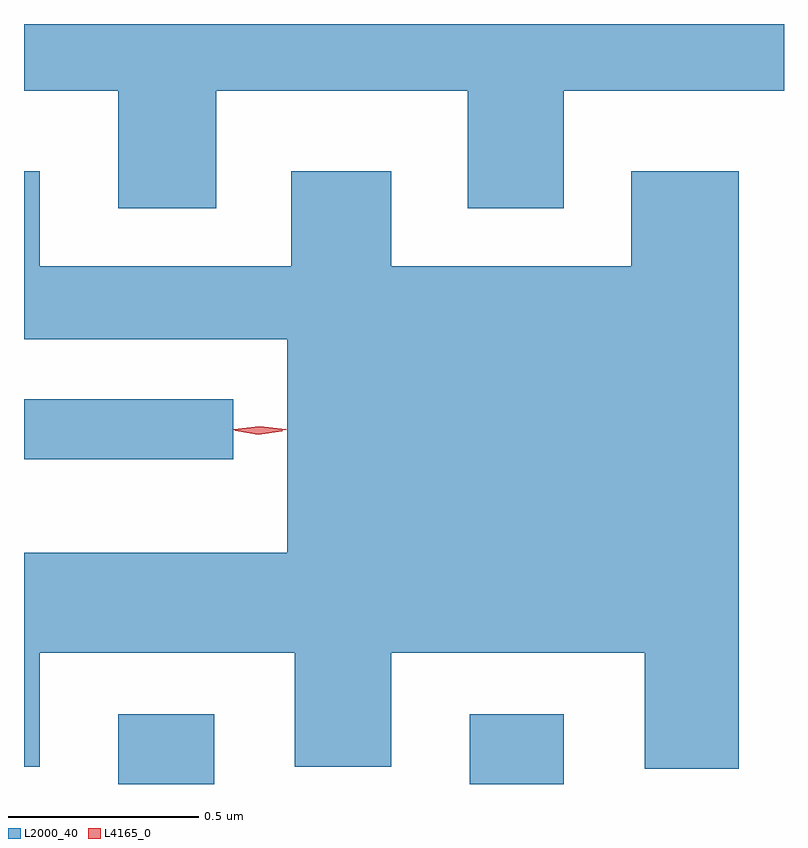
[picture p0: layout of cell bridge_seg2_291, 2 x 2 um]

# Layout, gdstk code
import gdstk
lib = gdstk.Library(unit=1e-6, precision=1e-09)
def R(c, l, rs):  # rectangles x0, y0, x1, y1
    for r in rs: c.add(gdstk.rectangle(r[:2], r[2:], *l))
def P(c, l, *ps):  # polygons
    for p in ps: c.add(gdstk.Polygon(p, *l))
L2000_40 = (2000, 40)
L4165_0 = (4165, 0)

bridge_seg2_291 = lib.new_cell('bridge_seg2_291')
R(bridge_seg2_291, L2000_40, [(659.446,1097.551,659.699,1097.734), (660.371,1097.551,660.619,1097.734), (659.198,1098.406,659.748,1098.564)])
P(bridge_seg2_291, L2000_40, [(659.704,1099.376),(660.366,1099.376),(660.366,1099.066),(660.619,1099.066),(660.619,1099.376),(661.198,1099.376),(661.198,1099.551),(659.198,1099.551),(659.198,1099.376),(659.446,1099.376),(659.446,1099.066),(659.704,1099.066)],
  [(661.079,1099.164),(660.796,1099.164),(660.796,1098.914),(660.164,1098.914),(660.164,1099.164),(659.901,1099.164),(659.901,1098.914),(659.239,1098.914),(659.239,1099.164),(659.198,1099.164),(659.198,1098.721),(659.891,1098.721),(659.891,1098.159),(659.198,1098.159),(659.198,1097.596),(659.239,1097.596),(659.239,1097.896),(659.911,1097.896),(659.911,1097.596),(660.164,1097.596),(660.164,1097.896),(660.831,1097.896),(660.831,1097.591),(661.079,1097.591)])
P(bridge_seg2_291, L4165_0, [(659.815,1098.47),(659.754,1098.481),(659.753,1098.482),(659.754,1098.482),(659.816,1098.49),(659.877,1098.48),(659.878,1098.479),(659.877,1098.479)],
  [(659.819,1098.473),(659.75,1098.483),(659.749,1098.483),(659.75,1098.484),(659.819,1098.493),(659.888,1098.484),(659.888,1098.483),(659.888,1098.483)])

lib.write_gds('bridge_seg2_291.gds')
